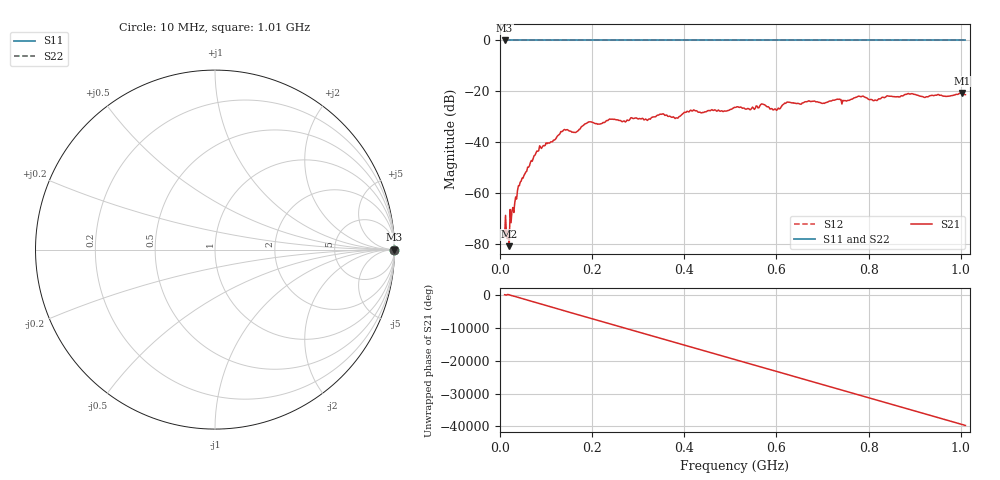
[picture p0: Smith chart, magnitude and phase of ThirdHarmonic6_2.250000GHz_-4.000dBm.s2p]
! 8/17/2025 2:41:49 AM
! C:\ANRITSUVNA\TEMP\TEMP.S2P
! CHANNEL.1
! TR.MEASUREMENT
! RAW.DATA
! RF.CORRECTION.OFF
! AVERAGING.OFF
! IF.BANDWIDTH: 5KHZ
! SWEEPTYPE:  FREQ.SWEEP(Linear)
! Reference Plane Port Info
! PORT:  PORT1  PORT2
! DISTANCE:  0  m  0  m
! TIME:  0  s  0  s
! PHASE.OFFSET:  0  deg.  0  deg.
! LOSS:  0  dB  0  dB
! REF.LOSS:  0  dB  0  dB
! REF.FREQ:  0  Hz  0  Hz
! Power Info
! POWER:  -20  dBm  -20  dBm
! EFF.POWER:  -20  dBm  -20  dBm
! SOURCE.ATTEN:  0  dB  0  dB
! TEST.ATTEN:  0  dB  0  dB
# GHZ S RI R 50.0
! FREQ.GHZ  S11RE  S11IM  S21RE  S21IM  S12RE  S12IM  S22RE  S22IM
!; PortSelection: Port_12
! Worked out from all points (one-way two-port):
!   501 points, 10 MHz to 1.01 GHz, reference 50 ohm
!   highest |S21| = -20.68 dB at 1.002 GHz (marker M1); lowest = -80.8 dB at 20 MHz (marker M2)
!   lowest |S11| = 0.0 dB at 10 MHz (marker M3)
!   |S11| at or under -10 dB: nowhere
!   |S22| runs from 0.0 to 0.0 dB; largest |S21 - S12| = 1.1
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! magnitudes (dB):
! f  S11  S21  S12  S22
! 10 MHz  0.0  -77.0  0.0  0.0
! 20 MHz  0.0  -80.8  0.0  0.0
! 26 MHz  0.0  -66.9  0.0  0.0
! 42 MHz  0.0  -57.0  0.0  0.0
! 82 MHz  0.0  -43.5  0.0  0.0
! 136 MHz  0.0  -35.6  0.0  0.0
! 164 MHz  0.0  -36.2  0.0  0.0
! 178 MHz  0.0  -33.7  0.0  0.0
! 194 MHz  0.0  -32.0  0.0  0.0
! 322 MHz  0.0  -31.0  0.0  0.0
! 344 MHz  0.0  -29.3  0.0  0.0
! 382 MHz  0.0  -30.4  0.0  0.0
! 416 MHz  0.0  -27.7  0.0  0.0
! 510 MHz  0.0  -26.3  0.0  0.0
! 570 MHz  0.0  -25.0  0.0  0.0
! 598 MHz  0.0  -27.0  0.0  0.0
! 622 MHz  0.0  -24.3  0.0  0.0
! 678 MHz  0.0  -23.9  0.0  0.0
! 814 MHz  0.0  -23.4  0.0  0.0
! 844 MHz  0.0  -21.9  0.0  0.0
! 1.002 GHz  0.0  -20.7  0.0  0.0
! 1.01 GHz  0.0  -21.3  0.0  0.0
